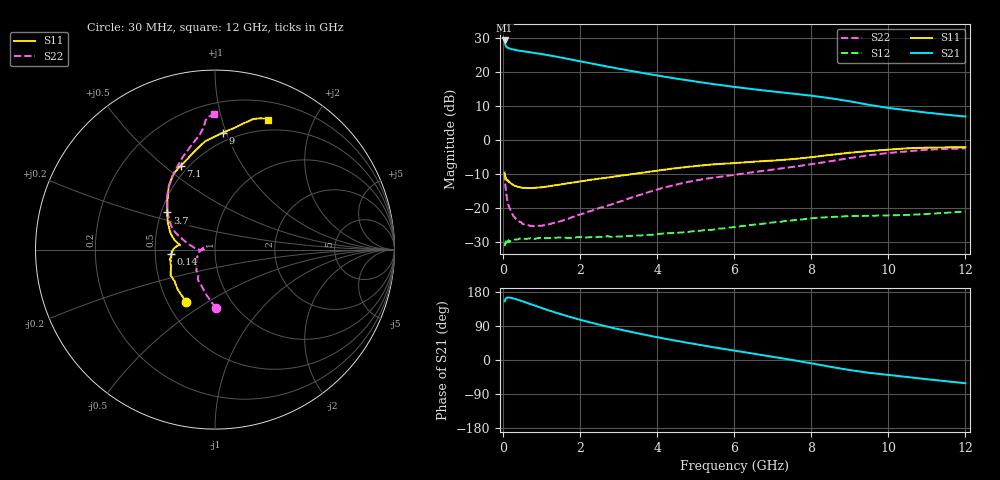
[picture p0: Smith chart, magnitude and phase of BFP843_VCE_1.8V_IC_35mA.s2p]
! Infineon Technologies  Discrete & RF Semiconductors
! BFP843
! VCE =  1.8 V,  IC =  35 mA
! Common Emitter S-Parameters:  Aug 2013
# GHz  S  MA  R  50
!  f  S11  S21  S12  S22
! GHz  MAG  ANG  MAG  ANG  MAG  ANG  MAG  ANG
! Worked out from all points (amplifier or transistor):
!   103 points, 30 MHz to 12 GHz, reference 50 ohm
!   highest |S21| = 29.3 dB at 30 MHz (marker M1)
!   |S21| within 3 dB of that: start of sweep to 403.1 MHz
!   unconditionally stable (mu >= 1): 79.54 MHz to 10.54 GHz
!   at 400 MHz: K = 1.03, MAG = 26.6 dB, |S12| = -29.1 dB
!   at 3.7 GHz: K = 1.35, MAG = 20.2 dB, |S12| = -27.9 dB
!   at 12 GHz: K = 0.85, MSG = 14.0 dB, |S12| = -21.0 dB
!   S11 on the Smith chart (normalised r, x): 30 MHz: 0.62, -0.41; 140 MHz: 0.60, -0.03; 3.7 GHz: 0.54, +0.25; 7.1 GHz: 0.45, +0.57; 9 GHz: 0.43, +0.97; 12 GHz: 0.38, +1.42
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0.03  0.3332 -118.9  29.12 154.8  0.0276 24.1  0.3251 -89.2
0.04  0.3039 -133.3  26.55 157.2  0.0297 23.3  0.2548 -101.2
0.05  0.2862 -141.9  25.23 160.4  0.0298 17.6  0.2141 -110.7
0.07  0.271 -155.4  23.69 162.9  0.0325 14.6  0.1661 -123.7
0.1  0.2536 -166.4  22.91 164.6  0.0329 9.5  0.1299 -144.2
0.14  0.2492 -174.1  22.36 164.8  0.0333 11.5  0.106 -157.9
0.3  0.2123 174.5  21.15 161.3  0.0345 6.1  0.0726 176.5
0.8  0.1983 172.5  19.12 144.1  0.0352 4.9  0.0543 170.3
1.1  0.2064 170.8  17.93 133.6  0.0362 5.3  0.0567 174.7
1.6  0.2285 167.1  15.92 117.5  0.0367 5.3  0.0674 -179.8
2.1  0.2518 162.2  14 103.2  0.0371 7.2  0.084 -179.5
2.8  0.2861 153.7  11.74 85.7  0.0378 9.5  0.1128 175.7
3.2  0.3074 148.9  10.67 76.6  0.0389 10.6  0.1355 170.6
3.7  0.3367 142.1  9.518 66.1  0.0404 12.1  0.1668 165.3
4.1  0.3624 137.2  8.71 58.1  0.0421 13.3  0.1954 161.4
5  0.416 128.8  7.246 41.6  0.0458 14.3  0.2548 154.8
6.1  0.4637 121.6  5.951 23.1  0.0534 15.1  0.3144 145.2
7.1  0.505 112.3  5.107 6.7  0.0625 12.0  0.3755 135.7
8.5  0.6069 95.1  4.115 -18.0  0.0741 2.4  0.4897 117.4
9  0.6525 86.2  3.715 -26.7  0.0764 -1.6  0.5448 109.4
10.5  0.7578 73.7  2.74 -45.0  0.0795 -9.6  0.6837 95.3
12  0.7822 67.9  2.219 -61.3  0.0893 -16.3  0.7558 90.3
